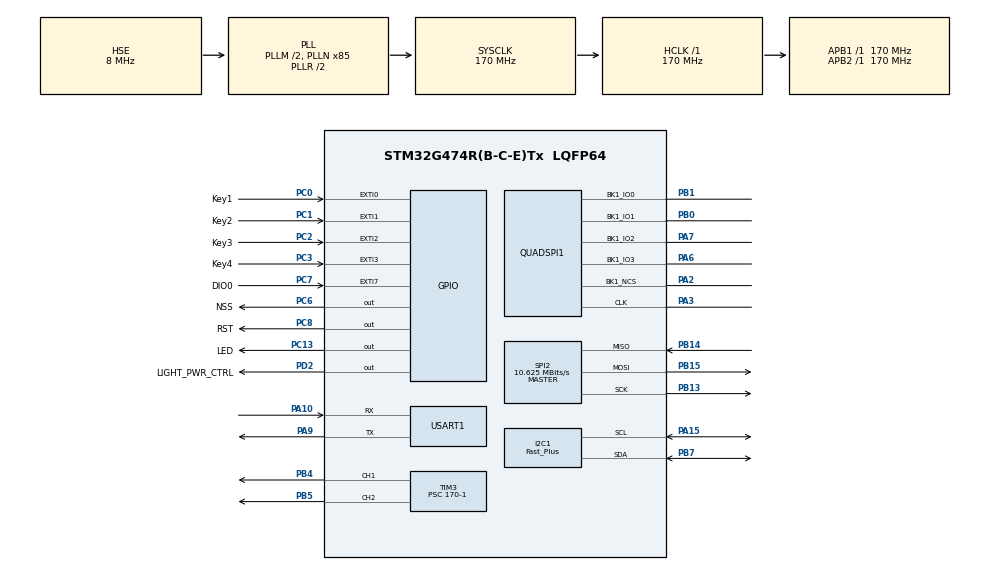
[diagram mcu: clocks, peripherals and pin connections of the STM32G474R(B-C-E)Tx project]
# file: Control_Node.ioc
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CRC.CRCLength=CRC_POLYLENGTH_16B
CRC.DefaultInitValueUse=DEFAULT_INIT_VALUE_DISABLE
CRC.DefaultPolynomialUse=DEFAULT_POLYNOMIAL_DISABLE
CRC.GeneratingPolynomial=X15+X2+X0
CRC.InitValue=0xFFFF
CRC.InputDataInversionMode=CRC_INPUTDATA_INVERSION_BYTE
CRC.OutputDataInversionMode=CRC_OUTPUTDATA_INVERSION_ENABLE
I2C1.I2C_Speed_Mode=I2C_Fast_Plus
I2C1.Timing=0x4052060F
Mcu.Family=STM32G4
Mcu.Name=STM32G474R(B-C-E)Tx
Mcu.Package=LQFP64
NVIC.EXTI0_IRQn=true\:15\:0\:true\:false\:true\:true\:true\:true
NVIC.EXTI1_IRQn=true\:15\:0\:true\:false\:true\:true\:true\:true
NVIC.EXTI2_IRQn=true\:15\:0\:true\:false\:true\:true\:true\:true
NVIC.EXTI3_IRQn=true\:15\:0\:true\:false\:true\:true\:true\:true
NVIC.EXTI9_5_IRQn=true\:10\:0\:true\:false\:true\:true\:true\:true
NVIC.PriorityGroup=NVIC_PRIORITYGROUP_4
NVIC.RNG_IRQn=true\:0\:0\:false\:false\:true\:true\:true\:true
PA10.Mode=Asynchronous
PA10.Signal=USART1_RX
PA13.Mode=Serial_Wire
PA13.Signal=SYS_JTMS-SWDIO
PA14.Mode=Serial_Wire
PA14.Signal=SYS_JTCK-SWCLK
PA15.GPIO_Speed=GPIO_SPEED_FREQ_VERY_HIGH
PA15.Mode=I2C
PA15.Signal=I2C1_SCL
PA2.GPIO_Speed=GPIO_SPEED_FREQ_VERY_HIGH
PA2.Mode=Single Bank 1
PA2.Signal=QUADSPI1_BK1_NCS
PA3.GPIO_Speed=GPIO_SPEED_FREQ_VERY_HIGH
PA3.Mode=Single Bank 1
PA3.Signal=QUADSPI1_CLK
PA6.GPIO_Speed=GPIO_SPEED_FREQ_VERY_HIGH
PA6.Mode=Single Bank 1
PA6.Signal=QUADSPI1_BK1_IO3
PA7.GPIO_Speed=GPIO_SPEED_FREQ_VERY_HIGH
PA7.Mode=Single Bank 1
PA7.Signal=QUADSPI1_BK1_IO2
PA9.Mode=Asynchronous
PA9.Signal=USART1_TX
PB0.GPIO_Speed=GPIO_SPEED_FREQ_VERY_HIGH
PB0.Mode=Single Bank 1
PB0.Signal=QUADSPI1_BK1_IO1
PB1.GPIO_Speed=GPIO_SPEED_FREQ_VERY_HIGH
PB1.Mode=Single Bank 1
PB1.Signal=QUADSPI1_BK1_IO0
PB13.GPIO_Speed=GPIO_SPEED_FREQ_VERY_HIGH
PB13.Mode=Full_Duplex_Master
PB13.Signal=SPI2_SCK
PB14.GPIO_Speed=GPIO_SPEED_FREQ_VERY_HIGH
PB14.Mode=Full_Duplex_Master
PB14.Signal=SPI2_MISO
PB15.GPIO_Speed=GPIO_SPEED_FREQ_VERY_HIGH
PB15.Mode=Full_Duplex_Master
PB15.Signal=SPI2_MOSI
PB4.GPIO_Speed=GPIO_SPEED_FREQ_VERY_HIGH
PB4.Signal=S_TIM3_CH1
PB5.GPIO_Speed=GPIO_SPEED_FREQ_VERY_HIGH
PB5.Signal=S_TIM3_CH2
PB7.GPIO_Speed=GPIO_SPEED_FREQ_VERY_HIGH
PB7.Mode=I2C
PB7.Signal=I2C1_SDA
PC0.GPIO_Label=Key1
PC0.GPIO_PuPd=GPIO_NOPULL
PC0.Signal=GPXTI0
PC1.GPIO_Label=Key2
PC1.GPIO_PuPd=GPIO_NOPULL
PC1.Signal=GPXTI1
PC13.GPIO_Label=LED
PC13.GPIO_PuPd=GPIO_PULLUP
PC13.Signal=GPIO_Output
PC14-OSC32_IN.Mode=LSE-External-Oscillator
PC14-OSC32_IN.Signal=RCC_OSC32_IN
PC15-OSC32_OUT.Mode=LSE-External-Oscillator
PC15-OSC32_OUT.Signal=RCC_OSC32_OUT
PC2.GPIO_Label=Key3
PC2.GPIO_PuPd=GPIO_NOPULL
PC2.Signal=GPXTI2
PC3.GPIO_Label=Key4
PC3.GPIO_PuPd=GPIO_NOPULL
PC3.Signal=GPXTI3
PC6.GPIO_Label=NSS
PC6.PinState=GPIO_PIN_SET
PC6.Signal=GPIO_Output
PC7.GPIO_Label=DIO0
PC7.GPIO_PuPd=GPIO_PULLDOWN
PC7.Signal=GPXTI7
PC8.GPIO_Label=RST
PC8.PinState=GPIO_PIN_SET
PC8.Signal=GPIO_Output
PD2.GPIO_Label=LIGHT_PWR_CTRL
PD2.GPIO_PuPd=GPIO_PULLUP
PD2.Signal=GPIO_Output
PF0-OSC_IN.Mode=HSE-External-Oscillator
PF0-OSC_IN.Signal=RCC_OSC_IN
PF1-OSC_OUT.Mode=HSE-External-Oscillator
PF1-OSC_OUT.Signal=RCC_OSC_OUT
ProjectManager.HeapSize=0x200
ProjectManager.StackSize=0x400
ProjectManager.TargetToolchain=EWARM V8.50
QUADSPI1.ChipSelectHighTime=QSPI_CS_HIGH_TIME_2_CYCLE
QUADSPI1.ClockPrescaler=1
QUADSPI1.FifoThreshold=4
QUADSPI1.FlashSize=22
QUADSPI1.SampleShifting=QSPI_SAMPLE_SHIFTING_NONE
RCC.ADC12Freq_Value=170000000
RCC.ADC345Freq_Value=170000000
RCC.AHBFreq_Value=170000000
RCC.APB1Freq_Value=170000000
RCC.APB1TimFreq_Value=170000000
RCC.APB2Freq_Value=170000000
RCC.APB2TimFreq_Value=170000000
RCC.CK48CLockSelection=RCC_USBCLKSOURCE_HSI48
RCC.CortexFreq_Value=170000000
RCC.EXTERNAL_CLOCK_VALUE=12288000
RCC.HCLKFreq_Value=170000000
RCC.HSE_VALUE=8000000
RCC.HSI48_VALUE=48000000
RCC.HSI_VALUE=16000000
RCC.PLLM=RCC_PLLM_DIV2
RCC.PLLN=85
RCC.PLLSourceVirtual=RCC_PLLSOURCE_HSE
RCC.SYSCLKFreq_VALUE=170000000
RCC.SYSCLKSource=RCC_SYSCLKSOURCE_PLLCLK
RCC.USBFreq_Value=48000000
RCC.VCOOutputFreq_Value=340000000
SH.S_TIM3_CH1.0=TIM3_CH1,PWM Generation1 CH1
SH.S_TIM3_CH2.0=TIM3_CH2,PWM Generation2 CH2
SPI2.BaudRatePrescaler=SPI_BAUDRATEPRESCALER_16
SPI2.CalculateBaudRate=10.625 MBits/s
SPI2.DataSize=SPI_DATASIZE_8BIT
SPI2.Direction=SPI_DIRECTION_2LINES
SPI2.Mode=SPI_MODE_MASTER
SPI2.VirtualType=VM_MASTER
TIM3.Channel-PWM\ Generation1\ CH1=TIM_CHANNEL_1
TIM3.Channel-PWM\ Generation2\ CH2=TIM_CHANNEL_2
TIM3.PeriodNoDither=100-1
TIM3.Prescaler=170-1
USART1.VirtualMode-Asynchronous=VM_ASYNC
VP_CRC_VS_CRC.Mode=CRC_Activate
VP_RNG_VS_RNG.Mode=RNG_Activate
VP_SYS_VS_DBSignals.Mode=DisableDeadBatterySignals
VP_TIM3_VS_ClockSourceINT.Mode=Internal
board=custom

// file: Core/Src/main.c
/* USER CODE BEGIN Header */
/**
  ******************************************************************************
  * @file           : main.c
  * @brief          : Main program body
  ******************************************************************************
  * @attention
  *
  * Copyright (c) 2025 STMicroelectronics.
  * All rights reserved.
  *
  * This software is licensed under terms that can be found in the LICENSE file
  * in the root directory of this software component.
  * If no LICENSE file comes with this software, it is provided AS-IS.
  *
  ******************************************************************************
  */
/* USER CODE END Header */
#include "main.h"

/* USER CODE BEGIN Includes */
#include <LowLevelIOInterface.h>
#include "stdio.h"
#include "stdlib.h"
#include "string.h"
#include "pwm_control.h"
#include "oled.h"
#include "lora_protocol.h"
#include "w25qxx.h"
#include "settings.h"
/* USER CODE END Includes */

CRC_HandleTypeDef hcrc;

I2C_HandleTypeDef hi2c1;

QSPI_HandleTypeDef hqspi1;

RNG_HandleTypeDef hrng;

SPI_HandleTypeDef hspi2;

TIM_HandleTypeDef htim3;

UART_HandleTypeDef huart1;

/* USER CODE BEGIN PV */
uint8_t show_mode = 0;
int set_item_id = 0;
bool fan_status = false,pump_status = false,light_status = false;
uint8_t fan_speed = 100,pump_speed = 100;
static char oled_show_buffer[8];

LoRa myLoRa;
static lora_parsed_message_t lora_msg;
static uint8_t received_data[LORA_MAX_RAW_PACKET];
int lora_rx_tag = 0;

uint16_t lora_frequency = 433;
uint8_t device_id = 0x12;

int page_code = 0;
/* USER CODE END PV */

void SystemClock_Config(void);
static void MX_GPIO_Init(void);
static void MX_CRC_Init(void);
static void MX_I2C1_Init(void);
static void MX_QUADSPI1_Init(void);
static void MX_SPI2_Init(void);
static void MX_TIM3_Init(void);
static void MX_USART1_UART_Init(void);
static void MX_RNG_Init(void);
/* USER CODE BEGIN PFP */
size_t __write(int handle, const unsigned char *buffer, size_t size) {
  if (buffer == 0) {
    return 0;
  }
  if (handle != _LLIO_STDOUT && handle != _LLIO_STDERR) {
    return _LLIO_ERROR;
  }
  HAL_UART_Transmit(&huart1, (uint8_t *)buffer, size, HAL_MAX_DELAY);
  return size;
}
/* USER CODE END PFP */

int main(void)
{

  /* MCU Configuration--------------------------------------------------------*/

  /* Reset of all peripherals, Initializes the Flash interface and the Systick. */
  HAL_Init();

  /* Configure the system clock */
  SystemClock_Config();

  /* Initialize all configured peripherals */
  MX_GPIO_Init();
  MX_CRC_Init();
  MX_I2C1_Init();
  MX_QUADSPI1_Init();
  MX_SPI2_Init();
  MX_TIM3_Init();
  MX_USART1_UART_Init();
  MX_RNG_Init();
  /* USER CODE BEGIN 2 */
  if (Settings_Init() != W25QXX_OK) {
    printf("FATAL: Settings module failed to initialize!\r\n");
    Error_Handler();
  }

  settings_t* p_settings = Settings_Get();

  fan_speed = p_settings->fan_speed;
  pump_speed = p_settings->pump_speed;
  fan_status = p_settings->fan_status;
  pump_status = p_settings->pump_status;
  light_status = p_settings->light_status;
  lora_frequency = p_settings->lora_frequency;
  device_id = p_settings->device_id;

  myLoRa = newLoRa();
  myLoRa.CS_port = NSS_GPIO_Port;
  myLoRa.CS_pin = NSS_Pin;
  myLoRa.reset_port = RST_GPIO_Port;
  myLoRa.reset_pin = RST_Pin;
  myLoRa.hSPIx = &hspi2;
  myLoRa.frequency = lora_frequency;
  uint16_t LoRa_status = LoRa_init(&myLoRa);

  char send_data[200];
  memset(send_data, NULL, 200);
  if (LoRa_status == LORA_OK)
  {
    snprintf(send_data, sizeof(send_data), "\n\r LoRa is running... :) \n\r");
    HAL_UART_Transmit(&huart1, (uint8_t *)send_data, 200, 200);
  }
  else
  {
    snprintf(send_data, sizeof(send_data), "\n\r LoRa failed :( \n\r Error code: %d \n\r", LoRa_status);
    HAL_UART_Transmit(&huart1, (uint8_t *)send_data, 200, 200);
  }
  PWM_Init();

  if(fan_status) set_fan_speed(fan_speed); else set_fan_speed(0);
  if(pump_status) set_pump_speed(pump_speed); else set_pump_speed(0);
  HAL_GPIO_WritePin(LIGHT_PWR_CTRL_GPIO_Port, LIGHT_PWR_CTRL_Pin, light_status ? GPIO_PIN_SET : GPIO_PIN_RESET);

  controller_data_update();
  OLED_Init();
  OLED_Display_On();
  OLED_Clear();
  /* USER CODE END 2 */

  /* Infinite loop */
  while (1)
  {

    /* USER CODE BEGIN 3 */
    if (lora_rx_tag)
    {
      uint8_t packet_size = 0;
      packet_size = LoRa_receive(&myLoRa, received_data, sizeof(received_data));
      if (packet_size > 0)
      {
        parse_lora_frame(received_data, packet_size, &lora_msg);
        printf("[LoRa CMD] Sent %d bytes (Seq: %u): ", packet_size, (unsigned int)lora_msg.seq_num);
        for (int i = 0; i < packet_size; i++)
        {
          printf("%02X ", received_data[i]);
        }
        printf("\r\n");

        if (lora_msg.target_addr ==  device_id && lora_msg.sender_addr == LORA_HOST_ADDRESS && lora_msg.msg_type == MSG_TYPE_CMD_SET_CONFIG)
        {
          switch (lora_msg.payload[0])
          {
          case CONTROLLER_DEVICE_TYPE_STATUS_FAN:
            if(lora_msg.payload[1])
              set_fan_speed(fan_speed);
            else
              set_fan_speed(0);
            fan_status = lora_msg.payload[1];
            controller_data_update();
            break;
          case CONTROLLER_DEVICE_TYPE_SPEED_FAN:
            fan_speed = lora_model_unpack_u8(&lora_msg.payload[1]);
            set_fan_speed(fan_speed);
            controller_data_update();
            break;
          case CONTROLLER_DEVICE_TYPE_STATUS_PUMP:
            if(lora_msg.payload[1])
              set_pump_speed(pump_speed);
            else
              set_pump_speed(0);
            pump_status = lora_msg.payload[1];
            controller_data_update();
            break;
          case CONTROLLER_DEVICE_TYPE_SPEED_PUMP:
            pump_speed = lora_model_unpack_u8(&lora_msg.payload[1]);
            set_pump_speed(pump_speed);
            controller_data_update();
            break;
          case CONTROLLER_DEVICE_TYPE_STATUS_LIGHT:
            if(lora_msg.payload[1])
              HAL_GPIO_WritePin(LIGHT_PWR_CTRL_GPIO_Port,LIGHT_PWR_CTRL_Pin,GPIO_PIN_SET);
            else
              HAL_GPIO_WritePin(LIGHT_PWR_CTRL_GPIO_Port,LIGHT_PWR_CTRL_Pin,GPIO_PIN_RESET);
            light_status = lora_msg.payload[1];
            controller_data_update();
            break;
          }
        }
      }
      lora_rx_tag = 0;
    }

    if(set_item_id==3)
      page_code=1;
    else
      page_code=0;

    uint8_t page[2][6] = {
      {5,6,7,8,26,27},
      {7,8,26,27,30,31}
    };

    switch(show_mode){
    case 0:
      OLED_ShowCHinese(64-16*2,0,1,0);
      OLED_ShowCHinese(64-16*1,0,2,0);
      OLED_ShowCHinese(64,0,3,0);
      OLED_ShowCHinese(64+16,0,4,0);

      OLED_ShowCHinese(0,2,5,0);
      OLED_ShowCHinese(16,2,6,0);
      OLED_ShowChar(32,2,':',16,0);
      if(fan_status){
        if(fan_status)
          set_fan_speed(fan_speed);
        else
          set_fan_speed(0);
        OLED_ShowCHinese(40,2,11,0);
        OLED_ShowCHinese(40+16,2,12,0);
        sprintf(oled_show_buffer,"%d%%  ",fan_speed);
        OLED_ShowString(40+16+16+8,2,oled_show_buffer,16,0);
        memset(oled_show_buffer,0,sizeof(oled_show_buffer));
      }else{
        OLED_ShowCHinese(40,2,13,0);
        OLED_ShowCHinese(40+16,2,14,0);
        OLED_ShowString(40+16+16+8,2,"      ",16,0);
      }

      OLED_ShowCHinese(0,4,7,0);
      OLED_ShowCHinese(16,4,8,0);
      OLED_ShowChar(32,4,':',16,0);
      if(pump_status){
        OLED_ShowCHinese(40,4,11,0);
        OLED_ShowCHinese(40+16,4,12,0);
        sprintf(oled_show_buffer,"%d%%  ",pump_speed);
        OLED_ShowString(40+16+16+8,4,oled_show_buffer,16,0);
        memset(oled_show_buffer,0,sizeof(oled_show_buffer));
      }else{
        OLED_ShowCHinese(40,4,13,0);
        OLED_ShowCHinese(40+16,4,14,0);
        OLED_ShowString(40+16+16+8,4,"      ",16,0);
      }

      OLED_ShowCHinese(0,6,9,0);
      OLED_ShowCHinese(16,6,10,0);
      OLED_ShowChar(32,6,':',16,0);
      if(light_status){
        OLED_ShowCHinese(40,6,11,0);
        OLED_ShowCHinese(40+16,6,12,0);
      }else{
        OLED_ShowCHinese(40,6,13,0);
        OLED_ShowCHinese(40+16,6,14,0);
      }
      break;
    case 1:
      switch(set_item_id){
      case 0:
        OLED_ShowString(40+8*5,4,"    ",16,0);
        OLED_ShowString(40+8*5,6,"    ",16,0);
        OLED_ShowCHinese(40+8*5,2,21,0);
        break;
      case 1:
        OLED_ShowString(40+8*5,2,"    ",16,0);
        OLED_ShowString(40+8*5,6,"    ",16,0);
        OLED_ShowCHinese(40+8*5,4,21,0);
        break;
      case 2:
        OLED_ShowString(40+8*5,2,"    ",16,0);
        OLED_ShowString(40+8*5,4,"    ",16,0);
        OLED_ShowCHinese(40+8*5,6,21,0);
        break;
      case 3:
        OLED_ShowString(40+8*5,2,"    ",16,0);
        OLED_ShowString(40+8*5,4,"    ",16,0);
        OLED_ShowCHinese(40+8*5,6,21,0);
        break;
      }
      OLED_ShowCHinese(64-16*2,0,17,0);
      OLED_ShowCHinese(64-16*1,0,18,0);
      OLED_ShowCHinese(64,0,19,0);
      OLED_ShowCHinese(64+16,0,20,0);

      OLED_ShowCHinese(0,2,page[page_code][0],0);
      OLED_ShowCHinese(16,2,page[page_code][1],0);
      OLED_ShowChar(32,2,':',16,0);
      if(!page_code){
        OLED_ShowNum(40,2,fan_speed,3,16,0);
        OLED_ShowChar(40+8*3,2,'%',16,0);
      }else{
        OLED_ShowNum(40,2,pump_speed,3,16,0);
        OLED_ShowChar(40+8*3,2,'%',16,0);
      }

      OLED_ShowCHinese(0,4,page[page_code][2],0);
      OLED_ShowCHinese(16,4,page[page_code][3],0);
      OLED_ShowChar(32,4,':',16,0);
      if(!page_code){
        OLED_ShowNum(40,4,pump_speed,3,16,0);
        OLED_ShowChar(40+8*3,4,'%',16,0);
      }else{
        OLED_ShowNum(40+8,4,lora_frequency,3,16,0);
      }

      OLED_ShowCHinese(0,6,page[page_code][4],0);
      OLED_ShowCHinese(16,6,page[page_code][5],0);
      OLED_ShowChar(32,6,':',16,0);
      OLED_ShowChar(32+8,6,' ',16,0);
      if(!page_code){
        OLED_ShowNum(40+8,6,lora_frequency,3,16,0);
      }else{
        OLED_ShowNum(40+8,6,device_id,3,16,0);
      }
      break;
    case 2:
      switch(set_item_id){
      case 0:
        if(!page_code)
          OLED_ShowNum(40,2,fan_speed,3,16,0);
        else
          OLED_ShowNum(40,2,pump_speed,3,16,0);
        OLED_ShowString(40+8*5,2,"    ",16,0);
        OLED_ShowCHinese(40+8*5,2,21,0);
        break;
      case 1:
        if(!page_code)
          OLED_ShowNum(40,4,pump_speed,3,16,0);
        else
          OLED_ShowNum(40+8,4,lora_frequency,3,16,0);
        OLED_ShowString(40+8*5,4,"    ",16,0);
        OLED_ShowCHinese(40+8*5,4,21,0);
        break;
      case 2:
        if(!page_code)
          OLED_ShowNum(40+8,6,lora_frequency,3,16,0);
        else
          OLED_ShowNum(40+8,6,device_id,3,16,0);
        OLED_ShowString(40+8*5,6,"    ",16,0);
        OLED_ShowCHinese(40+8*5,6,21,0);
        break;
      case 3:
        OLED_ShowNum(40+8,6,device_id,3,16,0);
        OLED_ShowString(40+8*5,6,"    ",16,0);
        OLED_ShowCHinese(40+8*5,6,21,0);
        break;
      }
      break;
    }
    HAL_Delay(50);
  }
  /* USER CODE END 3 */
}

void SystemClock_Config(void)
{
  RCC_OscInitTypeDef RCC_OscInitStruct = {0};
  RCC_ClkInitTypeDef RCC_ClkInitStruct = {0};

  /** Configure the main internal regulator output voltage
  */
  HAL_PWREx_ControlVoltageScaling(PWR_REGULATOR_VOLTAGE_SCALE1_BOOST);

  /** Initializes the RCC Oscillators according to the specified parameters
  * in the RCC_OscInitTypeDef structure.
  */
  RCC_OscInitStruct.OscillatorType = RCC_OSCILLATORTYPE_HSI48|RCC_OSCILLATORTYPE_HSE;
  RCC_OscInitStruct.HSEState = RCC_HSE_ON;
  RCC_OscInitStruct.HSI48State = RCC_HSI48_ON;
  RCC_OscInitStruct.PLL.PLLState = RCC_PLL_ON;
  RCC_OscInitStruct.PLL.PLLSource = RCC_PLLSOURCE_HSE;
  RCC_OscInitStruct.PLL.PLLM = RCC_PLLM_DIV2;
  RCC_OscInitStruct.PLL.PLLN = 85;
  RCC_OscInitStruct.PLL.PLLP = RCC_PLLP_DIV2;
  RCC_OscInitStruct.PLL.PLLQ = RCC_PLLQ_DIV2;
  RCC_OscInitStruct.PLL.PLLR = RCC_PLLR_DIV2;
  if (HAL_RCC_OscConfig(&RCC_OscInitStruct) != HAL_OK)
  {
    Error_Handler();
  }

  /** Initializes the CPU, AHB and APB buses clocks
  */
  RCC_ClkInitStruct.ClockType = RCC_CLOCKTYPE_HCLK|RCC_CLOCKTYPE_SYSCLK
                              |RCC_CLOCKTYPE_PCLK1|RCC_CLOCKTYPE_PCLK2;
  RCC_ClkInitStruct.SYSCLKSource = RCC_SYSCLKSOURCE_PLLCLK;
  RCC_ClkInitStruct.AHBCLKDivider = RCC_SYSCLK_DIV1;
  RCC_ClkInitStruct.APB1CLKDivider = RCC_HCLK_DIV1;
  RCC_ClkInitStruct.APB2CLKDivider = RCC_HCLK_DIV1;

  if (HAL_RCC_ClockConfig(&RCC_ClkInitStruct, FLASH_LATENCY_4) != HAL_OK)
  {
    Error_Handler();
  }
}

static void MX_CRC_Init(void)
{

  hcrc.Instance = CRC;
  hcrc.Init.DefaultPolynomialUse = DEFAULT_POLYNOMIAL_DISABLE;
  hcrc.Init.DefaultInitValueUse = DEFAULT_INIT_VALUE_DISABLE;
  hcrc.Init.GeneratingPolynomial = 32773;
  hcrc.Init.CRCLength = CRC_POLYLENGTH_16B;
  hcrc.Init.InitValue = 0xFFFF;
  hcrc.Init.InputDataInversionMode = CRC_INPUTDATA_INVERSION_BYTE;
  hcrc.Init.OutputDataInversionMode = CRC_OUTPUTDATA_INVERSION_ENABLE;
  hcrc.InputDataFormat = CRC_INPUTDATA_FORMAT_BYTES;
  if (HAL_CRC_Init(&hcrc) != HAL_OK)
  {
    Error_Handler();
  }

}

static void MX_I2C1_Init(void)
{

  hi2c1.Instance = I2C1;
  hi2c1.Init.Timing = 0x4052060F;
  hi2c1.Init.OwnAddress1 = 0;
  hi2c1.Init.AddressingMode = I2C_ADDRESSINGMODE_7BIT;
  hi2c1.Init.DualAddressMode = I2C_DUALADDRESS_DISABLE;
  hi2c1.Init.OwnAddress2 = 0;
  hi2c1.Init.OwnAddress2Masks = I2C_OA2_NOMASK;
  hi2c1.Init.GeneralCallMode = I2C_GENERALCALL_DISABLE;
  hi2c1.Init.NoStretchMode = I2C_NOSTRETCH_DISABLE;
  if (HAL_I2C_Init(&hi2c1) != HAL_OK)
  {
    Error_Handler();
  }

  /** Configure Analogue filter
  */
  if (HAL_I2CEx_ConfigAnalogFilter(&hi2c1, I2C_ANALOGFILTER_ENABLE) != HAL_OK)
  {
    Error_Handler();
  }

  /** Configure Digital filter
  */
  if (HAL_I2CEx_ConfigDigitalFilter(&hi2c1, 0) != HAL_OK)
  {
    Error_Handler();
  }

  /** I2C Fast mode Plus enable
  */
  HAL_I2CEx_EnableFastModePlus(I2C_FASTMODEPLUS_I2C1);

}

static void MX_QUADSPI1_Init(void)
{

  /* QUADSPI1 parameter configuration*/
  hqspi1.Instance = QUADSPI;
  hqspi1.Init.ClockPrescaler = 1;
  hqspi1.Init.FifoThreshold = 4;
  hqspi1.Init.SampleShifting = QSPI_SAMPLE_SHIFTING_NONE;
  hqspi1.Init.FlashSize = 22;
  hqspi1.Init.ChipSelectHighTime = QSPI_CS_HIGH_TIME_2_CYCLE;
  hqspi1.Init.ClockMode = QSPI_CLOCK_MODE_0;
  hqspi1.Init.FlashID = QSPI_FLASH_ID_1;
  hqspi1.Init.DualFlash = QSPI_DUALFLASH_DISABLE;
  if (HAL_QSPI_Init(&hqspi1) != HAL_OK)
  {
    Error_Handler();
  }

}

static void MX_RNG_Init(void)
{

  hrng.Instance = RNG;
  hrng.Init.ClockErrorDetection = RNG_CED_ENABLE;
  if (HAL_RNG_Init(&hrng) != HAL_OK)
  {
    Error_Handler();
  }

}

static void MX_SPI2_Init(void)
{

  /* SPI2 parameter configuration*/
  hspi2.Instance = SPI2;
  hspi2.Init.Mode = SPI_MODE_MASTER;
  hspi2.Init.Direction = SPI_DIRECTION_2LINES;
  hspi2.Init.DataSize = SPI_DATASIZE_8BIT;
  hspi2.Init.CLKPolarity = SPI_POLARITY_LOW;
  hspi2.Init.CLKPhase = SPI_PHASE_1EDGE;
  hspi2.Init.NSS = SPI_NSS_SOFT;
  hspi2.Init.BaudRatePrescaler = SPI_BAUDRATEPRESCALER_16;
  hspi2.Init.FirstBit = SPI_FIRSTBIT_MSB;
  hspi2.Init.TIMode = SPI_TIMODE_DISABLE;
  hspi2.Init.CRCCalculation = SPI_CRCCALCULATION_DISABLE;
  hspi2.Init.CRCPolynomial = 7;
  hspi2.Init.CRCLength = SPI_CRC_LENGTH_DATASIZE;
  hspi2.Init.NSSPMode = SPI_NSS_PULSE_ENABLE;
  if (HAL_SPI_Init(&hspi2) != HAL_OK)
  {
    Error_Handler();
  }

}

static void MX_TIM3_Init(void)
{

  TIM_ClockConfigTypeDef sClockSourceConfig = {0};
  TIM_MasterConfigTypeDef sMasterConfig = {0};
  TIM_OC_InitTypeDef sConfigOC = {0};

  htim3.Instance = TIM3;
  htim3.Init.Prescaler = 170-1;
  htim3.Init.CounterMode = TIM_COUNTERMODE_UP;
  htim3.Init.Period = 99;
  htim3.Init.ClockDivision = TIM_CLOCKDIVISION_DIV1;
  htim3.Init.AutoReloadPreload = TIM_AUTORELOAD_PRELOAD_DISABLE;
  if (HAL_TIM_Base_Init(&htim3) != HAL_OK)
  {
    Error_Handler();
  }
  sClockSourceConfig.ClockSource = TIM_CLOCKSOURCE_INTERNAL;
  if (HAL_TIM_ConfigClockSource(&htim3, &sClockSourceConfig) != HAL_OK)
  {
    Error_Handler();
  }
  if (HAL_TIM_PWM_Init(&htim3) != HAL_OK)
  {
    Error_Handler();
  }
  sMasterConfig.MasterOutputTrigger = TIM_TRGO_RESET;
  sMasterConfig.MasterSlaveMode = TIM_MASTERSLAVEMODE_DISABLE;
  if (HAL_TIMEx_MasterConfigSynchronization(&htim3, &sMasterConfig) != HAL_OK)
  {
    Error_Handler();
  }
  sConfigOC.OCMode = TIM_OCMODE_PWM1;
  sConfigOC.Pulse = 0;
  sConfigOC.OCPolarity = TIM_OCPOLARITY_HIGH;
  sConfigOC.OCFastMode = TIM_OCFAST_DISABLE;
  if (HAL_TIM_PWM_ConfigChannel(&htim3, &sConfigOC, TIM_CHANNEL_1) != HAL_OK)
  {
    Error_Handler();
  }
  if (HAL_TIM_PWM_ConfigChannel(&htim3, &sConfigOC, TIM_CHANNEL_2) != HAL_OK)
  {
    Error_Handler();
  }
  HAL_TIM_MspPostInit(&htim3);

}

static void MX_USART1_UART_Init(void)
{

  huart1.Instance = USART1;
  huart1.Init.BaudRate = 115200;
  huart1.Init.WordLength = UART_WORDLENGTH_8B;
  huart1.Init.StopBits = UART_STOPBITS_1;
  huart1.Init.Parity = UART_PARITY_NONE;
  huart1.Init.Mode = UART_MODE_TX_RX;
  huart1.Init.HwFlowCtl = UART_HWCONTROL_NONE;
  huart1.Init.OverSampling = UART_OVERSAMPLING_16;
  huart1.Init.OneBitSampling = UART_ONE_BIT_SAMPLE_DISABLE;
  huart1.Init.ClockPrescaler = UART_PRESCALER_DIV1;
  huart1.AdvancedInit.AdvFeatureInit = UART_ADVFEATURE_NO_INIT;
  if (HAL_UART_Init(&huart1) != HAL_OK)
  {
    Error_Handler();
  }
  if (HAL_UARTEx_SetTxFifoThreshold(&huart1, UART_TXFIFO_THRESHOLD_1_8) != HAL_OK)
  {
    Error_Handler();
  }
  if (HAL_UARTEx_SetRxFifoThreshold(&huart1, UART_RXFIFO_THRESHOLD_1_8) != HAL_OK)
  {
    Error_Handler();
  }
  if (HAL_UARTEx_DisableFifoMode(&huart1) != HAL_OK)
  {
    Error_Handler();
  }

}

static void MX_GPIO_Init(void)
{
  GPIO_InitTypeDef GPIO_InitStruct = {0};

  /* GPIO Ports Clock Enable */
  __HAL_RCC_GPIOC_CLK_ENABLE();
  __HAL_RCC_GPIOF_CLK_ENABLE();
  __HAL_RCC_GPIOA_CLK_ENABLE();
  __HAL_RCC_GPIOB_CLK_ENABLE();
  __HAL_RCC_GPIOD_CLK_ENABLE();

  /*Configure GPIO pin Output Level */
  HAL_GPIO_WritePin(LED_GPIO_Port, LED_Pin, GPIO_PIN_RESET);

  /*Configure GPIO pin Output Level */
  HAL_GPIO_WritePin(GPIOC, NSS_Pin|RST_Pin, GPIO_PIN_SET);

  /*Configure GPIO pin Output Level */
  HAL_GPIO_WritePin(LIGHT_PWR_CTRL_GPIO_Port, LIGHT_PWR_CTRL_Pin, GPIO_PIN_RESET);

  /*Configure GPIO pin : LED_Pin */
  GPIO_InitStruct.Pin = LED_Pin;
  GPIO_InitStruct.Mode = GPIO_MODE_OUTPUT_PP;
  GPIO_InitStruct.Pull = GPIO_PULLUP;
  GPIO_InitStruct.Speed = GPIO_SPEED_FREQ_LOW;
  HAL_GPIO_Init(LED_GPIO_Port, &GPIO_InitStruct);

  /*Configure GPIO pins : Key1_Pin Key2_Pin Key3_Pin Key4_Pin */
  GPIO_InitStruct.Pin = Key1_Pin|Key2_Pin|Key3_Pin|Key4_Pin;
  GPIO_InitStruct.Mode = GPIO_MODE_IT_RISING;
  GPIO_InitStruct.Pull = GPIO_NOPULL;
  HAL_GPIO_Init(GPIOC, &GPIO_InitStruct);

  /*Configure GPIO pins : NSS_Pin RST_Pin */
  GPIO_InitStruct.Pin = NSS_Pin|RST_Pin;
  GPIO_InitStruct.Mode = GPIO_MODE_OUTPUT_PP;
  GPIO_InitStruct.Pull = GPIO_NOPULL;
  GPIO_InitStruct.Speed = GPIO_SPEED_FREQ_LOW;
  HAL_GPIO_Init(GPIOC, &GPIO_InitStruct);

  /*Configure GPIO pin : DIO0_Pin */
  GPIO_InitStruct.Pin = DIO0_Pin;
  GPIO_InitStruct.Mode = GPIO_MODE_IT_RISING;
  GPIO_InitStruct.Pull = GPIO_PULLDOWN;
  HAL_GPIO_Init(DIO0_GPIO_Port, &GPIO_InitStruct);

  /*Configure GPIO pin : LIGHT_PWR_CTRL_Pin */
  GPIO_InitStruct.Pin = LIGHT_PWR_CTRL_Pin;
  GPIO_InitStruct.Mode = GPIO_MODE_OUTPUT_PP;
  GPIO_InitStruct.Pull = GPIO_PULLUP;
  GPIO_InitStruct.Speed = GPIO_SPEED_FREQ_LOW;
  HAL_GPIO_Init(LIGHT_PWR_CTRL_GPIO_Port, &GPIO_InitStruct);

  /* EXTI interrupt init*/
  HAL_NVIC_SetPriority(EXTI0_IRQn, 15, 0);
  HAL_NVIC_EnableIRQ(EXTI0_IRQn);

  HAL_NVIC_SetPriority(EXTI1_IRQn, 15, 0);
  HAL_NVIC_EnableIRQ(EXTI1_IRQn);

  HAL_NVIC_SetPriority(EXTI2_IRQn, 15, 0);
  HAL_NVIC_EnableIRQ(EXTI2_IRQn);

  HAL_NVIC_SetPriority(EXTI3_IRQn, 15, 0);
  HAL_NVIC_EnableIRQ(EXTI3_IRQn);

  HAL_NVIC_SetPriority(EXTI9_5_IRQn, 10, 0);
  HAL_NVIC_EnableIRQ(EXTI9_5_IRQn);

}

void Error_Handler(void)
{
  __disable_irq();
  while (1)
  {
  }
}
